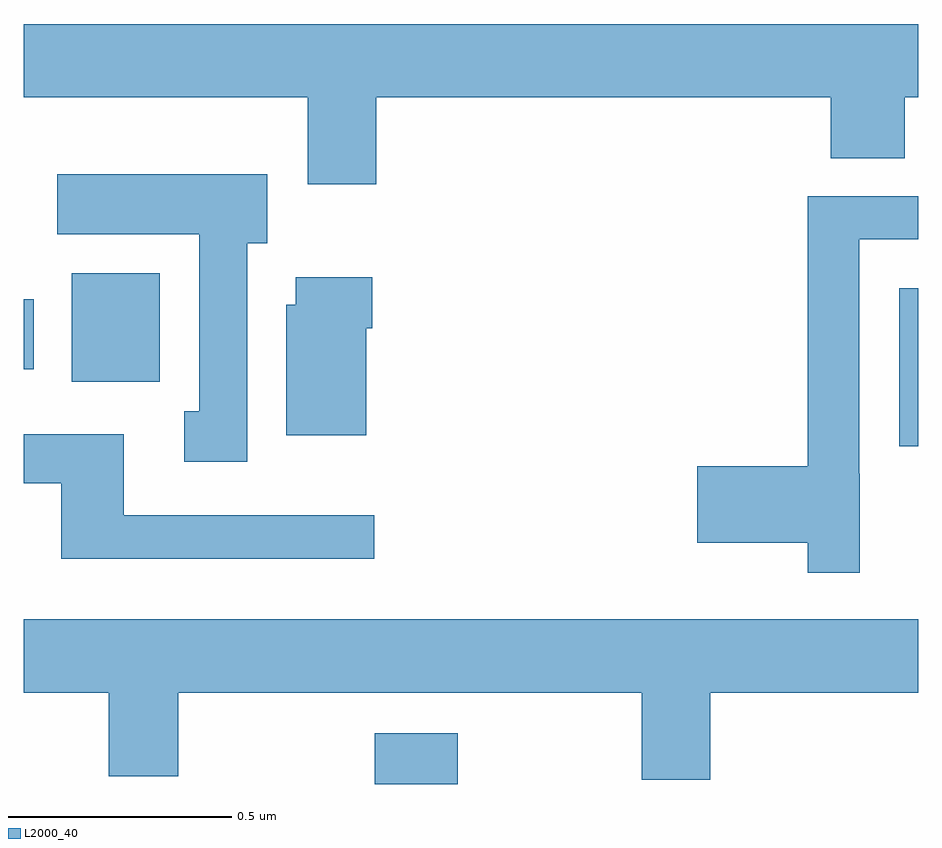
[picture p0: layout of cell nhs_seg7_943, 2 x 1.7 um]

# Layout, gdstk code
import gdstk
lib = gdstk.Library(unit=1e-6, precision=1e-09)
def R(c, l, rs):  # rectangles x0, y0, x1, y1
    for r in rs: c.add(gdstk.rectangle(r[:2], r[2:], *l))
def P(c, l, *ps):  # polygons
    for p in ps: c.add(gdstk.Polygon(p, *l))
L2000_40 = (2000, 40)

nhs_seg7_943 = lib.new_cell('nhs_seg7_943')
R(nhs_seg7_943, L2000_40, [(123.785,1079,123.97,1079.113), (124.958,1079.755,125,1080.109), (123.107,1079.9,123.304,1080.142), (123,1079.928,123.022,1080.084)])
P(nhs_seg7_943, L2000_40, [(123.788,1080.536),(124.805,1080.536),(124.805,1080.4),(124.97,1080.4),(124.97,1080.536),(125,1080.536),(125,1080.7),(123,1080.7),(123,1080.536),(123.635,1080.536),(123.635,1080.342),(123.788,1080.342)],
  [(123.499,1080.21),(123.544,1080.21),(123.544,1080.364),(123.075,1080.364),(123.075,1080.23),(123.392,1080.23),(123.392,1079.834),(123.359,1079.834),(123.359,1079.721),(123.499,1079.721)],
  [(124.87,1079.694),(124.869,1079.694),(124.869,1080.219),(125,1080.219),(125,1080.315),(124.753,1080.315),(124.753,1079.711),(124.506,1079.711),(124.506,1079.54),(124.753,1079.54),(124.753,1079.472),(124.87,1079.472)],
  [(123.766,1080.02),(123.779,1080.02),(123.779,1080.133),(123.608,1080.133),(123.608,1080.072),(123.587,1080.072),(123.587,1079.78),(123.766,1079.78)],
  [(123.784,1079.601),(123.223,1079.601),(123.223,1079.782),(123,1079.782),(123,1079.673),(123.083,1079.673),(123.083,1079.504),(123.784,1079.504)],
  [(124.535,1079.204),(125,1079.204),(125,1079.368),(123,1079.368),(123,1079.204),(123.19,1079.204),(123.19,1079.017),(123.345,1079.017),(123.345,1079.204),(124.382,1079.204),(124.382,1079.01),(124.535,1079.01)])

lib.write_gds('nhs_seg7_943.gds')
